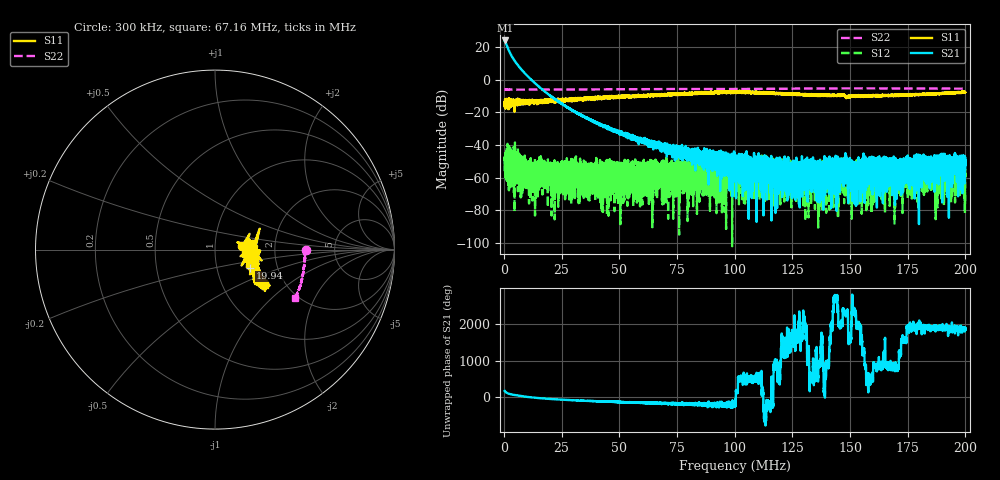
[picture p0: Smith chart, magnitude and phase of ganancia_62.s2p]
# Hz S DB R 50
! CMT, M5065, 19127446, 24.2.4/2
! Date: 11/8/2024 6:51:17 PM
! Data: Format (Calibration Info)
! Freq	S11:dB/Ang(F2)	S21:dB/Ang(F2)	S12:dB/Ang(F2)	S22:dB/Ang(F2)
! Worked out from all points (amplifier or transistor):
!   9000 points, 300 kHz to 200 MHz, reference 50 ohm
!   highest |S21| = 24.2 dB at 322.2 kHz (marker M1)
!   |S21| within 3 dB of that: start of sweep to 1.243 MHz
!   unconditionally stable (mu >= 1): start of sweep to end of sweep
!   at 33.59 MHz: K = 3857.20, MAG = -20.1 dB, |S12| = -59.2 dB
!   at 100.2 MHz: K = 76979.26, MAG = -45.5 dB, |S12| = -60.5 dB
!   at 200 MHz: K = 46530.15, MAG = -50.1 dB, |S12| = -51.7 dB
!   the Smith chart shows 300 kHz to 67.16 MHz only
!   S11 on the Smith chart (normalised r, x): 300 kHz: 1.36, +0.06; 19.94 MHz: 1.44, -0.31; 67.16 MHz: 1.59, -0.72
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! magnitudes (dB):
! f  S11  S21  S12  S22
! 300 kHz  -16.2  24.2  -56.0  -5.9
! 322.2 kHz  -14.6  24.2  -52.7  -5.9
! 1.365 MHz  -13.8  20.7  -52.0  -6.0
! 7.068 MHz  -13.6  7.2  -57.8  -6.0
! 19.94 MHz  -13.2  -9.5  -60.7  -5.9
! 33.59 MHz  -11.7  -21.7  -59.2  -5.9
! 50.45 MHz  -10.8  -33.0  -55.1  -5.8
! 54.87 MHz  -9.9  -34.4  -55.4  -5.7
! 60.33 MHz  -10.1  -37.4  -57.0  -5.7
! 66.87 MHz  -9.4  -40.2  -56.4  -5.7
! 67.16 MHz  -9.2  -41.7  -59.4  -5.6
! 100.2 MHz  -7.6  -47.8  -60.5  -5.5
! 123.4 MHz  -8.9  -65.5  -64.5  -5.4
! 133.4 MHz  -9.6  -50.8  -67.6  -5.3
! 142.1 MHz  -9.8  -60.7  -50.7  -5.2
! 144.4 MHz  -9.4  -57.4  -51.8  -5.2
! 148 MHz  -10.4  -52.3  -55.4  -5.2
! 150.2 MHz  -10.0  -50.5  -51.3  -5.2
! 153.1 MHz  -10.1  -54.6  -59.6  -5.2
! 166.7 MHz  -9.6  -59.5  -54.0  -5.2
! 196.5 MHz  -7.8  -52.2  -59.8  -5.4
! 200 MHz  -7.5  -52.4  -51.7  -5.4
